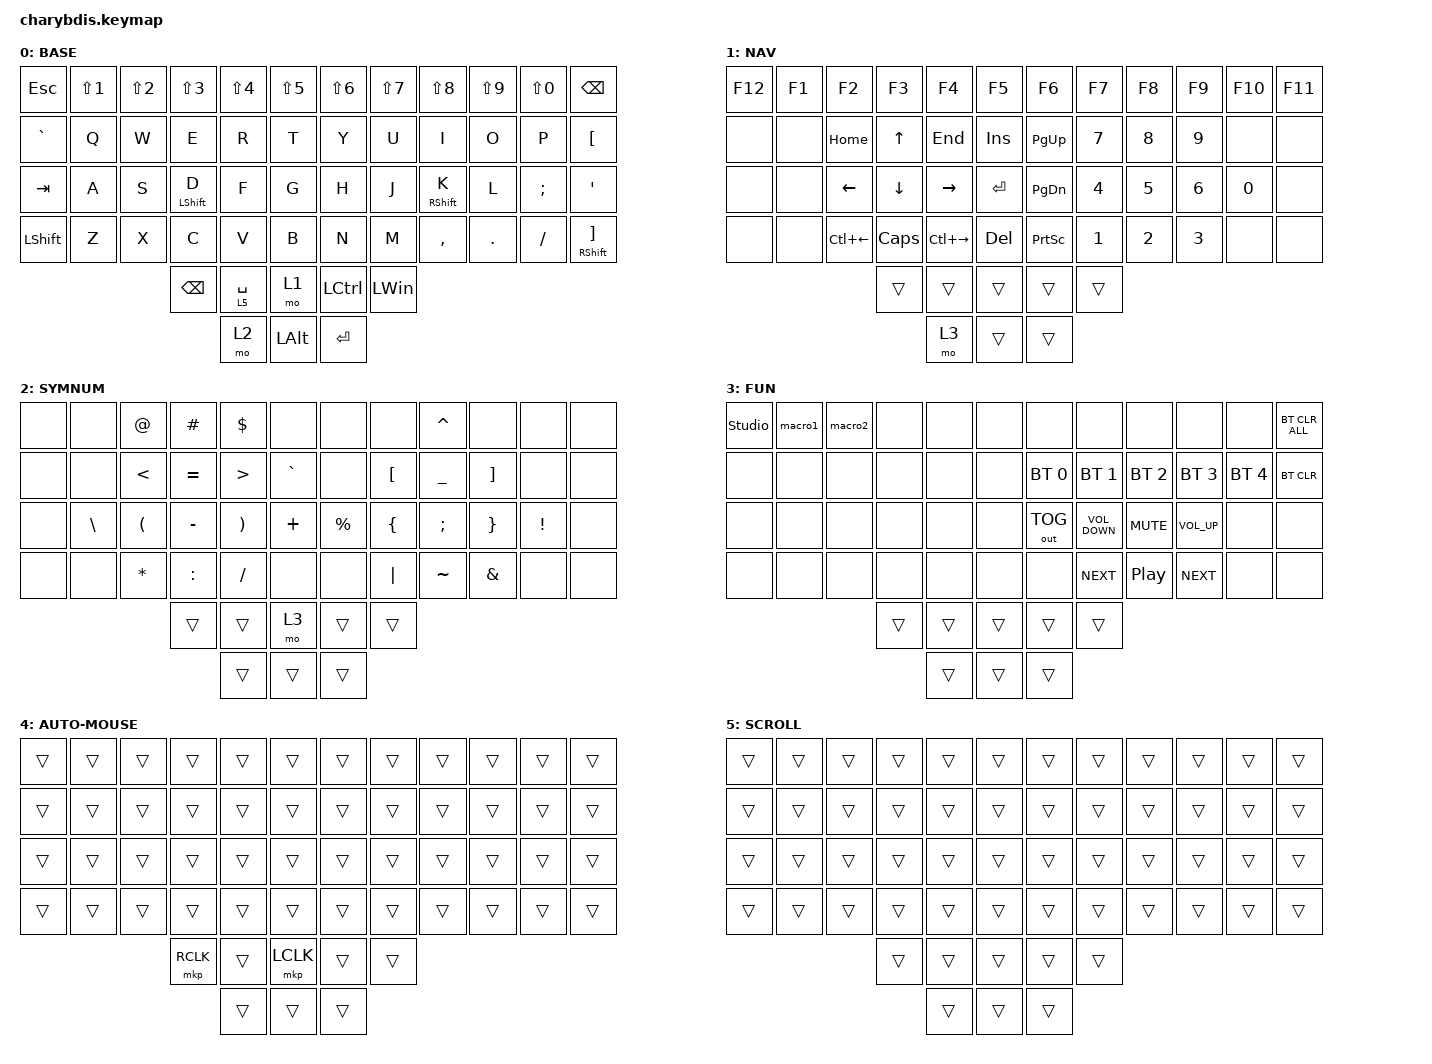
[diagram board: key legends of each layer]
#include <behaviors.dtsi>
#include <dt-bindings/zmk/bt.h>
#include <dt-bindings/zmk/keys.h>
#include <dt-bindings/zmk/outputs.h>
#include <dt-bindings/zmk/pointing.h>

#define U_TAPPING_TERM 200

/ {
    chosen { zmk,matrix_transform = &default_transform; };
};

/ {
    combos {
        compatible = "zmk,combos";

        LeftClickRight {
            bindings = <&mkp LCLK>;
            key-positions = <19 20>;
        };

        RightClickRight {
            bindings = <&mkp RCLK>;
            key-positions = <20 21>;
        };

        MiddleClickRight {
            bindings = <&mkp MCLK>;
            key-positions = <21 22>;
        };

        ParaLeft {
            bindings = <&kp LEFT_PARENTHESIS>;
            key-positions = <4 16>;
        };

        ParaRight {
            bindings = <&kp RIGHT_PARENTHESIS>;
            key-positions = <7 19>;
        };

        BrakLeft {
            bindings = <&kp LEFT_BRACKET>;
            key-positions = <3 15>;
        };

        BrakRight {
            bindings = <&kp RIGHT_BRACKET>;
            key-positions = <8 20>;
        };

        BraceLeft {
            bindings = <&kp LEFT_BRACE>;
            key-positions = <2 14>;
        };

        BraceRight {
            bindings = <&kp RIGHT_BRACE>;
            key-positions = <9 21>;
        };

        Delete {
            bindings = <&kp DELETE>;
            key-positions = <8 9>;
        };

        CapsWord {
            bindings = <&caps_word>;
            key-positions = <27 28 31 32>;
        };

        MiddleClick {
            bindings = <&mkp MCLK>;
            key-positions = <49 52>;
        };
    };

    behaviors {
        u_mt: u_mt {
            compatible = "zmk,behavior-hold-tap";
            label = "u_mt";
            #binding-cells = <2>;
            tapping_term_ms = <U_TAPPING_TERM>;
            flavor = "tap-preferred";
            bindings = <&kp>, <&kp>;
        };

        u_lt: u_lt {
            compatible = "zmk,behavior-hold-tap";
            label = "u_lt";
            #binding-cells = <2>;
            tapping_term_ms = <U_TAPPING_TERM>;
            flavor = "tap-preferred";
            bindings = <&mo>, <&kp>;
        };

        Shift_Enter: Shift_Enter {
            compatible = "zmk,behavior-hold-tap";
            label = "SHIFT_ENTER";
            bindings = <&kp>, <&kp>;

            #binding-cells = <2>;
            hold-trigger-key-positions = <40>;
            tapping-term-ms = <100>;
        };
    };

    macros {
        macro1: macro1 {
            compatible = "zmk,behavior-macro";
            #binding-cells = <0>;
            bindings = <&kp M &kp A &kp C &kp R &kp O &kp M &kp A &kp C &kp R &kp O &kp N1>;
            label = "MACRO1";
        };

        macro2: macro2 {
            compatible = "zmk,behavior-macro";
            #binding-cells = <0>;
            bindings = <&kp M &kp A &kp C &kp R &kp O &kp M &kp A &kp C &kp R &kp O &kp N2>;
            label = "MACRO2";
        };
    };

    keymap {
        compatible = "zmk,keymap";

        BASE {
            bindings = <
&kp ESC         &kp LS(NUMBER_1)  &kp LS(N2)  &kp LS(N3)          &kp LS(N4)     &kp LS(N5)      &kp LS(N6)  &kp LS(N7)    &kp LS(N8)           &kp LS(N9)  &kp LS(N0)  &kp BACKSPACE
&kp GRAVE       &kp Q             &kp W       &kp E               &kp R          &kp T           &kp Y       &kp U         &kp I                &kp O       &kp P       &kp LEFT_BRACKET
&kp TAB         &kp A             &kp S       &u_mt LEFT_SHIFT D  &kp F          &kp G           &kp H       &kp J         &u_mt RIGHT_SHIFT K  &kp L       &kp SEMI    &kp APOS
&kp LEFT_SHIFT  &kp Z             &kp X       &kp C               &kp V          &kp B           &kp N       &kp M         &kp COMMA            &kp DOT     &kp FSLH    &u_mt RIGHT_SHIFT RIGHT_BRACKET
                                              &kp BACKSPACE       &u_lt 5 SPACE  &mo 1           &kp LCTRL   &kp LEFT_WIN
                                                                  &mo 2          &kp LEFT_ALT    &kp ENTER
            >;
        };

        NAV {
            bindings = <
&kp F12  &kp F1  &kp F2        &kp F3        &kp F4         &kp F5        &kp F6           &kp F7        &kp F8        &kp F9        &kp F10       &kp F11
&none    &none   &kp HOME      &kp UP        &kp END        &kp INSERT    &kp PAGE_UP      &kp NUMBER_7  &kp NUMBER_8  &kp NUMBER_9  &none         &none
&none    &none   &kp LEFT      &kp DOWN      &kp RIGHT      &kp ENTER     &kp PAGE_DOWN    &kp NUMBER_4  &kp NUMBER_5  &kp NUMBER_6  &kp NUMBER_0  &none
&none    &none   &kp LC(LEFT)  &kp CAPSLOCK  &kp LC(RIGHT)  &kp DELETE    &kp PRINTSCREEN  &kp NUMBER_1  &kp NUMBER_2  &kp NUMBER_3  &none         &none
                               &trans        &trans         &trans        &trans           &trans
                                             &mo 3          &trans        &trans
            >;
        };

        SYMNUM {
            bindings = <
&none  &none          &kp AT_SIGN           &kp HASH   &kp DOLLAR             &none        &none        &none             &kp CARET       &none              &none            &none
&none  &none          &kp LESS_THAN         &kp EQUAL  &kp GREATER_THAN       &kp GRAVE    &none        &kp LEFT_BRACKET  &kp UNDERSCORE  &kp RIGHT_BRACKET  &none            &none
&none  &kp BACKSLASH  &kp LEFT_PARENTHESIS  &kp MINUS  &kp RIGHT_PARENTHESIS  &kp PLUS     &kp PERCENT  &kp LEFT_BRACE    &kp SEMICOLON   &kp RIGHT_BRACE    &kp EXCLAMATION  &none
&none  &none          &kp ASTERISK          &kp COLON  &kp SLASH              &none        &none        &kp PIPE          &kp TILDE       &kp AMPERSAND      &none            &none
                                            &trans     &trans                 &mo 3        &trans       &trans
                                                       &trans                 &trans       &trans
            >;
        };

        FUN {
            bindings = <
&studio_unlock  &macro1  &macro2  &none   &none   &none     &none         &none              &none             &none            &none         &bt BT_CLR_ALL
&none           &none    &none    &none   &none   &none     &bt BT_SEL 0  &bt BT_SEL 1       &bt BT_SEL 2      &bt BT_SEL 3     &bt BT_SEL 4  &bt BT_CLR
&none           &none    &none    &none   &none   &none     &out OUT_TOG  &kp C_VOLUME_DOWN  &kp C_MUTE        &kp C_VOLUME_UP  &none         &none
&none           &none    &none    &none   &none   &none     &none         &kp C_NEXT         &kp C_PLAY_PAUSE  &kp C_NEXT       &none         &none
                                  &trans  &trans  &trans    &trans        &trans
                                          &trans  &trans    &trans
            >;
        };

        AUTO-MOUSE {
            bindings = <
&trans  &trans  &trans  &trans     &trans  &trans       &trans  &trans  &trans  &trans  &trans  &trans
&trans  &trans  &trans  &trans     &trans  &trans       &trans  &trans  &trans  &trans  &trans  &trans
&trans  &trans  &trans  &trans     &trans  &trans       &trans  &trans  &trans  &trans  &trans  &trans
&trans  &trans  &trans  &trans     &trans  &trans       &trans  &trans  &trans  &trans  &trans  &trans
                        &mkp RCLK  &trans  &mkp LCLK    &trans  &trans
                                   &trans  &trans       &trans
            >;
        };

        SCROLL {
            bindings = <
&trans  &trans  &trans  &trans  &trans  &trans    &trans  &trans  &trans  &trans  &trans  &trans
&trans  &trans  &trans  &trans  &trans  &trans    &trans  &trans  &trans  &trans  &trans  &trans
&trans  &trans  &trans  &trans  &trans  &trans    &trans  &trans  &trans  &trans  &trans  &trans
&trans  &trans  &trans  &trans  &trans  &trans    &trans  &trans  &trans  &trans  &trans  &trans
                        &trans  &trans  &trans    &trans  &trans
                                &trans  &trans    &trans
            >;
        };
    };
};
